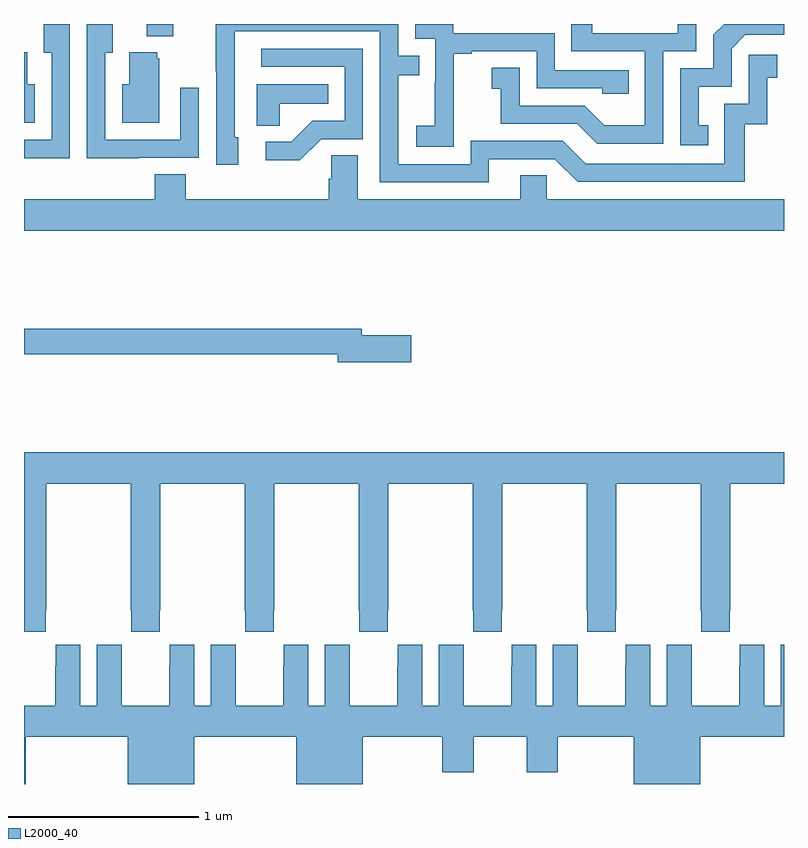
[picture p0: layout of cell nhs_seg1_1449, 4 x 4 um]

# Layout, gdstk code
import gdstk
lib = gdstk.Library(unit=1e-6, precision=1e-09)
def R(c, l, rs):  # rectangles x0, y0, x1, y1
    for r in rs: c.add(gdstk.rectangle(r[:2], r[2:], *l))
def P(c, l, *ps):  # polygons
    for p in ps: c.add(gdstk.Polygon(p, *l))
L2000_40 = (2000, 40)

nhs_seg1_1449 = lib.new_cell('nhs_seg1_1449')
R(nhs_seg1_1449, L2000_40, [(191.645,506.135,191.785,506.199)])
P(nhs_seg1_1449, L2000_40, [(193.447,505.488),(193.794,505.488),(193.914,505.368),(194.794,505.368),(194.794,505.671),(194.912,505.671),(194.912,505.917),(194.965,505.917),(194.965,506.038),(194.814,506.038),(194.814,505.779),(194.685,505.779),(194.685,505.464),(193.956,505.464),(193.836,505.584),(193.35,505.584),(193.35,505.461),(192.969,505.461),(192.969,505.93),(193.079,505.93),(193.079,506.031),(192.969,506.031),(192.969,506.199),(192.01,506.199),(192.01,505.951),(192.012,505.951),(192.012,505.458),(192.127,505.458),(192.127,505.602),(192.108,505.602),(192.108,506.16),(192.873,506.16),(192.873,505.365),(193.447,505.365)],
  [(194.6,505.665),(194.551,505.665),(194.551,505.869),(194.724,505.869),(194.724,506.07),(194.796,506.142),(195,506.142),(195,506.199),(194.685,506.199),(194.628,506.142),(194.628,505.965),(194.454,505.965),(194.454,505.56),(194.6,505.56)],
  [(193.263,505.759),(193.262,505.759),(193.262,506.043),(193.357,506.043),(193.357,506.055),(193.698,506.055),(193.698,505.86),(194.043,505.86),(194.043,505.833),(194.183,505.833),(194.183,505.956),(193.794,505.956),(193.794,506.151),(193.26,506.151),(193.26,506.199),(193.059,506.199),(193.059,506.121),(193.164,506.121),(193.164,505.892),(193.163,505.892),(193.163,505.663),(193.065,505.663),(193.065,505.553),(193.263,505.553)],
  [(194.364,506.055),(194.538,506.055),(194.538,506.199),(194.441,506.199),(194.441,506.151),(193.99,506.151),(193.99,506.199),(193.879,506.199),(193.879,506.055),(194.268,506.055),(194.268,505.666),(194.054,505.666),(193.95,505.77),(193.608,505.77),(193.608,505.969),(193.461,505.969),(193.461,505.859),(193.51,505.859),(193.51,505.674),(193.913,505.674),(194.018,505.569),(194.364,505.569)],
  [(191.241,506.199),(191.105,506.199),(191.105,506.047),(191.145,506.047),(191.145,505.59),(191,505.59),(191,505.493),(191.241,505.493)],
  [(191.603,505.494),(191.919,505.494),(191.919,505.864),(191.823,505.864),(191.823,505.59),(191.427,505.59),(191.427,506.047),(191.467,506.047),(191.467,506.199),(191.331,506.199),(191.331,505.493),(191.603,505.493)],
  [(192.564,505.593),(192.783,505.593),(192.783,506.07),(192.249,506.07),(192.249,505.974),(192.687,505.974),(192.687,505.689),(192.518,505.689),(192.407,505.578),(192.273,505.578),(192.273,505.481),(192.451,505.481)],
  [(191.056,505.882),(191.017,505.882),(191.017,506.05),(191,506.05),(191,505.679),(191.056,505.679)],
  [(191.713,506.019),(191.702,506.019),(191.702,506.05),(191.555,506.05),(191.555,505.882),(191.516,505.882),(191.516,505.679),(191.713,505.679)],
  [(192.345,505.778),(192.602,505.778),(192.602,505.882),(192.224,505.882),(192.224,505.663),(192.345,505.663)],
  [(195,505.276),(193.752,505.276),(193.752,505.403),(193.613,505.403),(193.613,505.276),(192.757,505.276),(192.757,505.508),(192.618,505.508),(192.618,505.385),(192.605,505.385),(192.605,505.276),(191.852,505.276),(191.852,505.409),(191.687,505.409),(191.687,505.276),(191,505.276),(191,505.112),(195,505.112)],
  [(193.039,504.56),(192.778,504.56),(192.778,504.596),(191,504.596),(191,504.46),(192.65,504.46),(192.65,504.418),(193.039,504.418)],
  [(191.115,503.113),(191.118,503.113),(191.118,503.78),(191.563,503.78),(191.563,503.113),(191.565,503.113),(191.565,503.001),(191.715,503.001),(191.715,503.113),(191.718,503.113),(191.718,503.78),(192.163,503.78),(192.163,503.113),(192.165,503.113),(192.165,503.001),(192.315,503.001),(192.315,503.113),(192.318,503.113),(192.318,503.78),(192.763,503.78),(192.763,503.113),(192.765,503.113),(192.765,503.001),(192.915,503.001),(192.915,503.113),(192.918,503.113),(192.918,503.78),(193.363,503.78),(193.363,503.113),(193.365,503.113),(193.365,503.001),(193.515,503.001),(193.515,503.113),(193.518,503.113),(193.518,503.78),(193.963,503.78),(193.963,503.113),(193.965,503.113),(193.965,503.001),(194.115,503.001),(194.115,503.113),(194.118,503.113),(194.118,503.78),(194.563,503.78),(194.563,503.113),(194.565,503.113),(194.565,503.001),(194.715,503.001),(194.715,503.113),(194.718,503.113),(194.718,503.78),(195,503.78),(195,503.944),(191,503.944),(191,503.001),(191.115,503.001)],
  [(193.646,502.26),(193.81,502.26),(193.81,502.448),(194.21,502.448),(194.21,502.199),(194.56,502.199),(194.56,502.448),(195,502.448),(195,502.933),(194.984,502.933),(194.984,502.612),(194.896,502.612),(194.896,502.933),(194.766,502.933),(194.766,502.82),(194.765,502.82),(194.765,502.612),(194.515,502.612),(194.515,502.82),(194.514,502.82),(194.514,502.933),(194.384,502.933),(194.384,502.612),(194.296,502.612),(194.296,502.933),(194.166,502.933),(194.166,502.82),(194.165,502.82),(194.165,502.612),(193.915,502.612),(193.915,502.82),(193.914,502.82),(193.914,502.933),(193.784,502.933),(193.784,502.612),(193.696,502.612),(193.696,502.933),(193.566,502.933),(193.566,502.82),(193.565,502.82),(193.565,502.612),(193.315,502.612),(193.315,502.82),(193.314,502.82),(193.314,502.933),(193.184,502.933),(193.184,502.612),(193.096,502.612),(193.096,502.933),(192.966,502.933),(192.966,502.82),(192.965,502.82),(192.965,502.612),(192.715,502.612),(192.715,502.82),(192.714,502.82),(192.714,502.933),(192.584,502.933),(192.584,502.612),(192.496,502.612),(192.496,502.933),(192.366,502.933),(192.366,502.82),(192.365,502.82),(192.365,502.612),(192.115,502.612),(192.115,502.82),(192.114,502.82),(192.114,502.933),(191.984,502.933),(191.984,502.612),(191.896,502.612),(191.896,502.933),(191.766,502.933),(191.766,502.82),(191.765,502.82),(191.765,502.612),(191.515,502.612),(191.515,502.82),(191.514,502.82),(191.514,502.933),(191.384,502.933),(191.384,502.612),(191.296,502.612),(191.296,502.933),(191.166,502.933),(191.166,502.82),(191.165,502.82),(191.165,502.612),(191,502.612),(191,502.199),(191.008,502.199),(191.008,502.448),(191.546,502.448),(191.546,502.199),(191.896,502.199),(191.896,502.448),(192.434,502.448),(192.434,502.199),(192.784,502.199),(192.784,502.448),(193.202,502.448),(193.202,502.26),(193.366,502.26),(193.366,502.448),(193.646,502.448)])

lib.write_gds('nhs_seg1_1449.gds')
